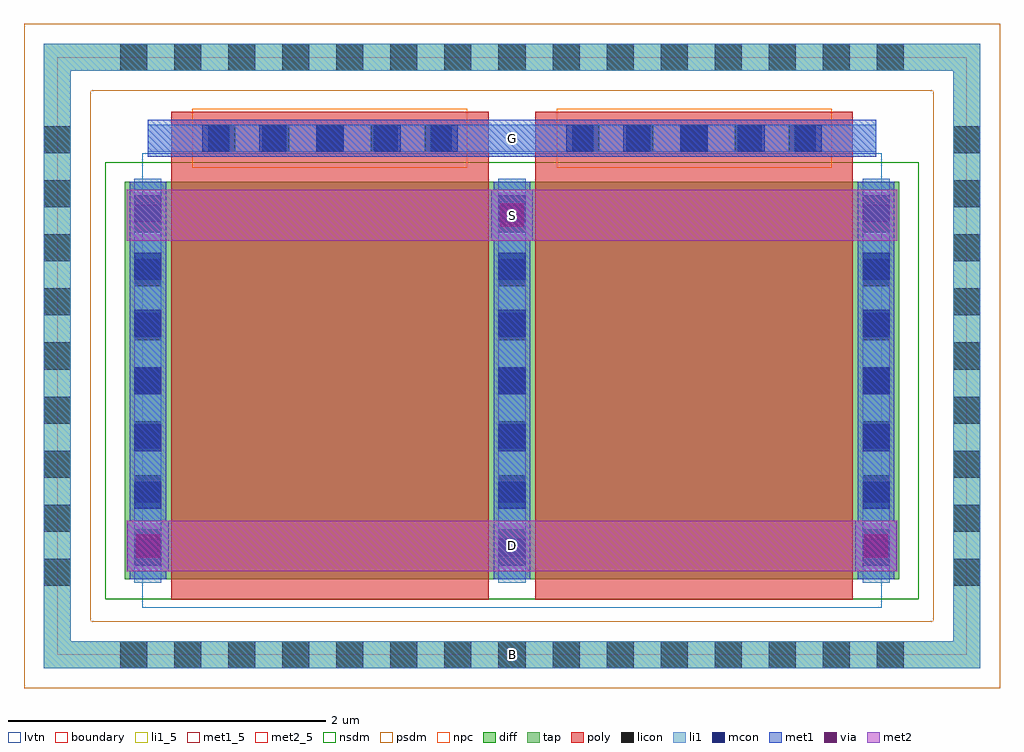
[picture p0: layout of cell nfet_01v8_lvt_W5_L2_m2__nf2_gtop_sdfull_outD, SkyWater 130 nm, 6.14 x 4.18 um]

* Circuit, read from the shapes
.subckt nfet_01v8_lvt_W5_L2_m2__nf2_gtop_sdfull_outD B D G S
XM1 S G D B sky130_fd_pr__nfet_01v8_lvt w=2.5 l=2 m=2
.ends

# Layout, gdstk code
import gdstk
lib = gdstk.Library(unit=1e-6, precision=1e-09)
def R(c, l, rs):  # rectangles x0, y0, x1, y1
    for r in rs: c.add(gdstk.rectangle(r[:2], r[2:], *l))
def A(c, l, x, y, w, h, nx, ny, dx, dy):  # array of equal rectangles
    R(c, l, [(x+i*dx, y+j*dy, x+i*dx+w, y+j*dy+h) for i in range(nx) for j in range(ny)])
diff = (65, 20)
tap = (65, 44)
poly = (66, 20)
licon = (66, 44)
li1_5 = (67, 5)
li1 = (67, 20)
mcon = (67, 44)
met1_5 = (68, 5)
met1 = (68, 20)
via = (68, 44)
met2_5 = (69, 5)
met2 = (69, 20)
nsdm = (93, 44)
psdm = (94, 20)
npc = (95, 20)
lvtn = (125, 44)
boundary = (235, 4)

sky130_fd_pr__nfet_01v8_ = lib.new_cell('sky130_fd_pr__nfet_01v8_lvt_QKX5HP')
R(sky130_fd_pr__nfet_01v8_, diff, [(-2.435,-1.405,2.435,1.095)])
R(sky130_fd_pr__nfet_01v8_, tap, [(-2.945,-1.965,2.945,-1.795), (-2.945,-1.795,-2.775,1.795), (2.775,-1.795,2.945,1.795), (-2.945,1.795,2.945,1.965)])
R(sky130_fd_pr__nfet_01v8_, poly, [(-2.145,-1.535,-0.145,1.535), (0.145,-1.535,2.145,1.535)])
A(sky130_fd_pr__nfet_01v8_, licon, -2.465, -1.965, 0.17, 0.17, 15, 2, 0.34, 3.76)
A(sky130_fd_pr__nfet_01v8_, licon, -2.945, -1.445, 0.17, 0.17, 1, 9, 0, 0.34)
A(sky130_fd_pr__nfet_01v8_, licon, 2.775, -1.445, 0.17, 0.17, 1, 9, 0, 0.34)
A(sky130_fd_pr__nfet_01v8_, licon, -2.375, -1.26, 0.17, 0.17, 3, 7, 2.29, 0.34)
A(sky130_fd_pr__nfet_01v8_, licon, -1.91, 1.285, 0.17, 0.17, 5, 1, 0.34, 0)
A(sky130_fd_pr__nfet_01v8_, licon, 0.38, 1.285, 0.17, 0.17, 5, 1, 0.34, 0)
A(sky130_fd_pr__nfet_01v8_, li1, -2.375, -1.425, 0.17, 2.54, 3, 1, 2.29, 0)
R(sky130_fd_pr__nfet_01v8_, li1, [(-2.945,-1.965,2.945,-1.795), (-2.945,-1.795,-2.775,1.795), (2.775,-1.795,2.945,1.795), (-2.29,1.285,2.29,1.455), (-2.945,1.795,2.945,1.965)])
A(sky130_fd_pr__nfet_01v8_, mcon, -2.375, -1.32, 0.17, 0.17, 3, 7, 2.29, 0.36)
A(sky130_fd_pr__nfet_01v8_, mcon, -1.95, 1.285, 0.17, 0.17, 5, 1, 0.36, 0)
A(sky130_fd_pr__nfet_01v8_, mcon, 0.34, 1.285, 0.17, 0.17, 5, 1, 0.36, 0)
A(sky130_fd_pr__nfet_01v8_, met1, -2.405, -1.405, 0.23, 2.5, 3, 1, 2.29, 0)
R(sky130_fd_pr__nfet_01v8_, met1, [(-2.125,1.255,-0.165,1.285), (0.165,1.255,2.125,1.285), (-2.29,1.285,2.29,1.455), (-2.125,1.455,-0.165,1.485), (0.165,1.455,2.125,1.485)])
R(sky130_fd_pr__nfet_01v8_, nsdm, [(-2.56,-1.53,2.56,1.22)])
R(sky130_fd_pr__nfet_01v8_, psdm, [(-3.07,-2.09,3.07,-1.67), (-3.07,-1.67,-2.65,1.67), (2.65,-1.67,3.07,1.67), (-3.07,1.67,3.07,2.09)])
R(sky130_fd_pr__nfet_01v8_, npc, [(-2.01,1.185,-0.28,1.555), (0.28,1.185,2.01,1.555)])
R(sky130_fd_pr__nfet_01v8_, lvtn, [(-2.325,-1.585,2.325,1.275)])
R(sky130_fd_pr__nfet_01v8_, boundary, [(-2.86,-1.88,2.86,1.88)])
sky130_fd_pr__nfet_01v8_.add(gdstk.Label('B', (0,-1.88), layer=67, texttype=5))
sky130_fd_pr__nfet_01v8_.add(gdstk.Label('D0', (-2.29,-0.155), layer=67, texttype=5))
sky130_fd_pr__nfet_01v8_.add(gdstk.Label('G', (1.145,1.37), layer=67, texttype=5))
sky130_fd_pr__nfet_01v8_.add(gdstk.Label('G', (-1.145,1.37), layer=67, texttype=5))
sky130_fd_pr__nfet_01v8_.add(gdstk.Label('S1', (0,-0.155), layer=67, texttype=5))

nfet_01v8_lvt_w5_l2_m2__ = lib.new_cell('nfet_01v8_lvt_W5_L2_m2__nf2_gtop_sdfull_outD')
R(nfet_01v8_lvt_w5_l2_m2__, li1_5, [(2.775,-0.085,2.945,0.085)])
R(nfet_01v8_lvt_w5_l2_m2__, li1, [(2.775,-0.085,2.945,0.085)])
R(nfet_01v8_lvt_w5_l2_m2__, met1_5, [(0.57,3.135,5.15,3.365)])
R(nfet_01v8_lvt_w5_l2_m2__, met1, [(0.44,0.525,0.7,0.845), (5.02,0.525,5.28,0.845), (2.73,2.605,2.99,2.925), (0.57,3.135,5.15,3.365)])
R(nfet_01v8_lvt_w5_l2_m2__, via, [(0.495,0.61,0.645,0.76), (5.075,0.61,5.225,0.76), (2.785,2.69,2.935,2.84)])
R(nfet_01v8_lvt_w5_l2_m2__, met2_5, [(0.435,0.525,5.285,0.845), (0.435,2.605,5.285,2.925)])
R(nfet_01v8_lvt_w5_l2_m2__, met2, [(0.435,0.525,5.285,0.845), (0.435,2.605,5.285,2.925)])
nfet_01v8_lvt_w5_l2_m2__.add(gdstk.Reference(sky130_fd_pr__nfet_01v8_, (2.86,1.88)))
nfet_01v8_lvt_w5_l2_m2__.add(gdstk.Label('S', (2.86,2.765), layer=69, texttype=5))
nfet_01v8_lvt_w5_l2_m2__.add(gdstk.Label('D', (2.86,0.685), layer=69, texttype=5))
nfet_01v8_lvt_w5_l2_m2__.add(gdstk.Label('G', (2.86,3.25), layer=68, texttype=5))
nfet_01v8_lvt_w5_l2_m2__.add(gdstk.Label('B', (2.86,0), layer=67, texttype=5))

lib.write_gds('nfet_01v8_lvt_W5_L2_m2__nf2_gtop_sdfull_outD.gds')
